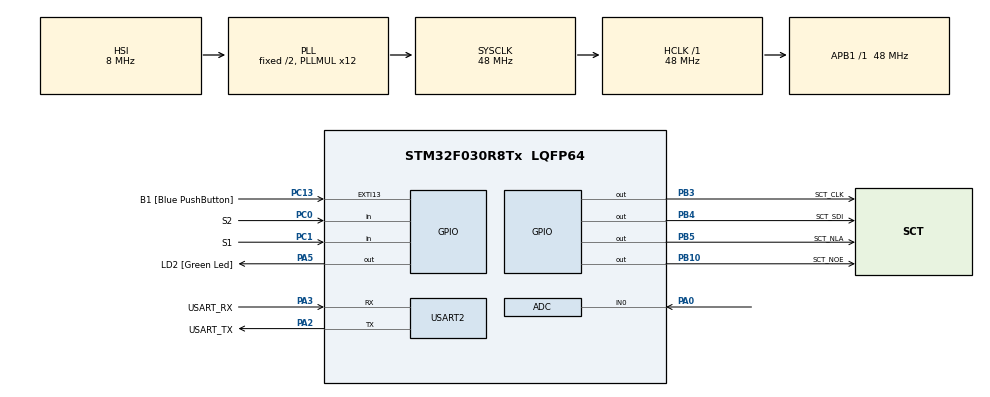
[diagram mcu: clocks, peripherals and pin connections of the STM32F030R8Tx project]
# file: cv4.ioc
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ADC.ContinuousConvMode=ENABLE
ADC.SamplingTime=ADC_SAMPLETIME_239CYCLES_5
Mcu.Family=STM32F0
Mcu.Name=STM32F030R8Tx
Mcu.Package=LQFP64
NVIC.ADC1_IRQn=true\:0\:0\:false\:false\:true\:true\:true\:true
PA0.Mode=IN0
PA0.Signal=ADC_IN0
PA13.GPIO_Label=TMS
PA13.Mode=Serial_Wire
PA13.Signal=SYS_SWDIO
PA14.GPIO_Label=TCK
PA14.Mode=Serial_Wire
PA14.Signal=SYS_SWCLK
PA2.GPIO_Label=USART_TX
PA2.GPIO_Mode=GPIO_MODE_AF_PP
PA2.GPIO_PuPd=GPIO_NOPULL
PA2.GPIO_Speed=GPIO_SPEED_FREQ_LOW
PA2.Mode=Asynchronous
PA2.Signal=USART2_TX
PA3.GPIO_Label=USART_RX
PA3.GPIO_Mode=GPIO_MODE_AF_PP
PA3.GPIO_PuPd=GPIO_NOPULL
PA3.GPIO_Speed=GPIO_SPEED_FREQ_LOW
PA3.Mode=Asynchronous
PA3.Signal=USART2_RX
PA5.GPIO_Label=LD2 [Green Led]
PA5.GPIO_Mode=GPIO_MODE_OUTPUT_PP
PA5.GPIO_PuPd=GPIO_NOPULL
PA5.GPIO_Speed=GPIO_SPEED_FREQ_LOW
PA5.Signal=GPIO_Output
PB10.GPIO_Label=SCT_NOE
PB10.Signal=GPIO_Output
PB3.GPIO_Label=SCT_CLK
PB3.Signal=GPIO_Output
PB4.GPIO_Label=SCT_SDI
PB4.Signal=GPIO_Output
PB5.GPIO_Label=SCT_NLA
PB5.Signal=GPIO_Output
PC0.GPIO_Label=S2
PC0.GPIO_PuPd=GPIO_PULLUP
PC0.Signal=GPIO_Input
PC1.GPIO_Label=S1
PC1.GPIO_PuPd=GPIO_PULLUP
PC1.Signal=GPIO_Input
PC13.GPIO_Label=B1 [Blue PushButton]
PC13.GPIO_ModeDefaultEXTI=GPIO_MODE_IT_FALLING
PC13.Signal=GPXTI13
PC14-OSC32_IN.Mode=LSE-External-Oscillator
PC14-OSC32_IN.Signal=RCC_OSC32_IN
PC15-OSC32_OUT.Mode=LSE-External-Oscillator
PC15-OSC32_OUT.Signal=RCC_OSC32_OUT
PF0-OSC_IN.Mode=HSE-External-Clock-Source
PF0-OSC_IN.Signal=RCC_OSC_IN
PF1-OSC_OUT.Signal=RCC_OSC_OUT
ProjectManager.HeapSize=0x200
ProjectManager.StackSize=0x400
ProjectManager.TargetToolchain=STM32CubeIDE
RCC.AHBFreq_Value=48000000
RCC.APB1Freq_Value=48000000
RCC.APB1TimFreq_Value=48000000
RCC.HCLKFreq_Value=48000000
RCC.PLLMUL=RCC_PLL_MUL12
RCC.SYSCLKFreq_VALUE=48000000
RCC.SYSCLKSource=RCC_SYSCLKSOURCE_PLLCLK
USART2.VirtualMode-Asynchronous=VM_ASYNC
VP_ADC_TempSens_Input.Mode=IN-TempSens
VP_ADC_Vref_Input.Mode=IN-Vrefint
board=NUCLEO-F030R8

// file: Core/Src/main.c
/* USER CODE BEGIN Header */
/**
  ******************************************************************************
  * @file           : main.c
  * @brief          : Main program body
  ******************************************************************************
  * @attention
  *
  * Copyright (c) 2025 STMicroelectronics.
  * All rights reserved.
  *
  * This software is licensed under terms that can be found in the LICENSE file
  * in the root directory of this software component.
  * If no LICENSE file comes with this software, it is provided AS-IS.
  *
  ******************************************************************************
  */
/* USER CODE END Header */
#include "main.h"

/* USER CODE BEGIN Includes */
#include "sct.h"
/* USER CODE END Includes */

ADC_HandleTypeDef hadc;

UART_HandleTypeDef huart2;

void SystemClock_Config(void);
static void MX_GPIO_Init(void);
static void MX_USART2_UART_Init(void);
static void MX_ADC_Init(void);

/* USER CODE BEGIN 0 */
#define ADC_Q 12
#define TEMP110_CAL_ADDR ((uint16_t*) ((uint32_t) 0x1FFFF7C2))
#define TEMP30_CAL_ADDR ((uint16_t*) ((uint32_t) 0x1FFFF7B8))
#define VREFINT_CAL_ADDR ((uint16_t*) ((uint32_t) 0x1FFFF7BA))
static volatile uint32_t raw_pot=0;
static volatile uint32_t raw_temp=0;
static volatile uint32_t raw_volt=0;

void HAL_ADC_ConvCpltCallback(ADC_HandleTypeDef* hadc)
{
	static uint32_t avg_pot = 0;

	/*raw_pot = avg_pot >> ADC_Q;
	avg_pot -= raw_pot;
	avg_pot += HAL_ADC_GetValue(hadc);*/

	if (hadc->Instance == ADC1)
	{
		static uint8_t channel = 0;

		uint32_t adc = HAL_ADC_GetValue(hadc);

		switch (channel)
		{
		case 0:

			avg_pot = avg_pot - (avg_pot >> ADC_Q) + adc;
			raw_pot = avg_pot >> ADC_Q;
			break;

		case 1:

			raw_temp = adc;
			break;

		case 2:

			raw_volt = adc;
			break;
		}

		if (__HAL_ADC_GET_FLAG(hadc, ADC_FLAG_EOS))
		{
			channel = 0;
		}
		else
		{
			channel++;
		}

	}
}
/* USER CODE END 0 */

int main(void)
{

  /* MCU Configuration--------------------------------------------------------*/

  /* Reset of all peripherals, Initializes the Flash interface and the Systick. */
  HAL_Init();

  /* Configure the system clock */
  SystemClock_Config();

  /* Initialize all configured peripherals */
  MX_GPIO_Init();
  MX_USART2_UART_Init();
  MX_ADC_Init();
  /* USER CODE BEGIN 2 */
  HAL_ADCEx_Calibration_Start(&hadc);
  HAL_ADC_Start_IT(&hadc);
  sct_init();

  /* USER CODE END 2 */

  /* Infinite loop */
  while (1)
  {

	  /* USER CODE BEGIN 3 */
	  static enum { SHOW_POT, SHOW_VOLT, SHOW_TEMP } state = SHOW_POT;
	  static uint32_t last_press = 0;

	  if (HAL_GPIO_ReadPin(GPIOC, GPIO_PIN_0) == GPIO_PIN_RESET) {  // S2 = PC0
		  state = SHOW_VOLT;
		  last_press = HAL_GetTick();
	  } else if (HAL_GPIO_ReadPin(GPIOC, GPIO_PIN_1) == GPIO_PIN_RESET) {  // S1 = PC1
		  state = SHOW_TEMP;
		  last_press = HAL_GetTick();
	  }

	  if ((state != SHOW_POT) && (HAL_GetTick() - last_press > 1000)) {
		  state = SHOW_POT;
	  }

	  uint32_t value = 0;
	  uint8_t led = 0;

	  switch (state) {
	  case SHOW_POT:
		  value = raw_pot * 500 / 4096;
		  led = raw_pot * 9 / 4096;
		  break;

	  case SHOW_VOLT:
		  if (raw_volt != 0) {
			  value = 330 * (*VREFINT_CAL_ADDR) / raw_volt;
			  led = 2;
		  }
		  break;

	  case SHOW_TEMP:
	  {
		  int32_t temperature = (raw_temp - (int32_t)(*TEMP30_CAL_ADDR));
		  temperature = temperature * (int32_t)(110 - 30);
		  temperature = temperature / (int32_t)(*TEMP110_CAL_ADDR - *TEMP30_CAL_ADDR);
		  temperature = temperature + 30;

		  value = temperature;
		  led = 1;
	  }
	  break;
	  }

	  sct_value(value, led);
	  HAL_Delay(50);
  }
}
  /* USER CODE END 3 */

void SystemClock_Config(void)
{
  RCC_OscInitTypeDef RCC_OscInitStruct = {0};
  RCC_ClkInitTypeDef RCC_ClkInitStruct = {0};

  /** Initializes the RCC Oscillators according to the specified parameters
  * in the RCC_OscInitTypeDef structure.
  */
  RCC_OscInitStruct.OscillatorType = RCC_OSCILLATORTYPE_HSI|RCC_OSCILLATORTYPE_HSI14;
  RCC_OscInitStruct.HSIState = RCC_HSI_ON;
  RCC_OscInitStruct.HSI14State = RCC_HSI14_ON;
  RCC_OscInitStruct.HSICalibrationValue = RCC_HSICALIBRATION_DEFAULT;
  RCC_OscInitStruct.HSI14CalibrationValue = 16;
  RCC_OscInitStruct.PLL.PLLState = RCC_PLL_ON;
  RCC_OscInitStruct.PLL.PLLSource = RCC_PLLSOURCE_HSI;
  RCC_OscInitStruct.PLL.PLLMUL = RCC_PLL_MUL12;
  RCC_OscInitStruct.PLL.PREDIV = RCC_PREDIV_DIV1;
  if (HAL_RCC_OscConfig(&RCC_OscInitStruct) != HAL_OK)
  {
    Error_Handler();
  }

  /** Initializes the CPU, AHB and APB buses clocks
  */
  RCC_ClkInitStruct.ClockType = RCC_CLOCKTYPE_HCLK|RCC_CLOCKTYPE_SYSCLK
                              |RCC_CLOCKTYPE_PCLK1;
  RCC_ClkInitStruct.SYSCLKSource = RCC_SYSCLKSOURCE_PLLCLK;
  RCC_ClkInitStruct.AHBCLKDivider = RCC_SYSCLK_DIV1;
  RCC_ClkInitStruct.APB1CLKDivider = RCC_HCLK_DIV1;

  if (HAL_RCC_ClockConfig(&RCC_ClkInitStruct, FLASH_LATENCY_1) != HAL_OK)
  {
    Error_Handler();
  }
}

static void MX_ADC_Init(void)
{

  ADC_ChannelConfTypeDef sConfig = {0};

  /** Configure the global features of the ADC (Clock, Resolution, Data Alignment and number of conversion)
  */
  hadc.Instance = ADC1;
  hadc.Init.ClockPrescaler = ADC_CLOCK_ASYNC_DIV1;
  hadc.Init.Resolution = ADC_RESOLUTION_12B;
  hadc.Init.DataAlign = ADC_DATAALIGN_RIGHT;
  hadc.Init.ScanConvMode = ADC_SCAN_DIRECTION_FORWARD;
  hadc.Init.EOCSelection = ADC_EOC_SINGLE_CONV;
  hadc.Init.LowPowerAutoWait = DISABLE;
  hadc.Init.LowPowerAutoPowerOff = DISABLE;
  hadc.Init.ContinuousConvMode = ENABLE;
  hadc.Init.DiscontinuousConvMode = DISABLE;
  hadc.Init.ExternalTrigConv = ADC_SOFTWARE_START;
  hadc.Init.ExternalTrigConvEdge = ADC_EXTERNALTRIGCONVEDGE_NONE;
  hadc.Init.DMAContinuousRequests = DISABLE;
  hadc.Init.Overrun = ADC_OVR_DATA_PRESERVED;
  if (HAL_ADC_Init(&hadc) != HAL_OK)
  {
    Error_Handler();
  }

  /** Configure for the selected ADC regular channel to be converted.
  */
  sConfig.Channel = ADC_CHANNEL_0;
  sConfig.Rank = ADC_RANK_CHANNEL_NUMBER;
  sConfig.SamplingTime = ADC_SAMPLETIME_239CYCLES_5;
  if (HAL_ADC_ConfigChannel(&hadc, &sConfig) != HAL_OK)
  {
    Error_Handler();
  }

  /** Configure for the selected ADC regular channel to be converted.
  */
  sConfig.Channel = ADC_CHANNEL_TEMPSENSOR;
  if (HAL_ADC_ConfigChannel(&hadc, &sConfig) != HAL_OK)
  {
    Error_Handler();
  }

  /** Configure for the selected ADC regular channel to be converted.
  */
  sConfig.Channel = ADC_CHANNEL_VREFINT;
  if (HAL_ADC_ConfigChannel(&hadc, &sConfig) != HAL_OK)
  {
    Error_Handler();
  }

}

static void MX_USART2_UART_Init(void)
{

  huart2.Instance = USART2;
  huart2.Init.BaudRate = 38400;
  huart2.Init.WordLength = UART_WORDLENGTH_8B;
  huart2.Init.StopBits = UART_STOPBITS_1;
  huart2.Init.Parity = UART_PARITY_NONE;
  huart2.Init.Mode = UART_MODE_TX_RX;
  huart2.Init.HwFlowCtl = UART_HWCONTROL_NONE;
  huart2.Init.OverSampling = UART_OVERSAMPLING_16;
  huart2.Init.OneBitSampling = UART_ONE_BIT_SAMPLE_DISABLE;
  huart2.AdvancedInit.AdvFeatureInit = UART_ADVFEATURE_NO_INIT;
  if (HAL_UART_Init(&huart2) != HAL_OK)
  {
    Error_Handler();
  }

}

static void MX_GPIO_Init(void)
{
  GPIO_InitTypeDef GPIO_InitStruct = {0};

  /* GPIO Ports Clock Enable */
  __HAL_RCC_GPIOC_CLK_ENABLE();
  __HAL_RCC_GPIOF_CLK_ENABLE();
  __HAL_RCC_GPIOA_CLK_ENABLE();
  __HAL_RCC_GPIOB_CLK_ENABLE();

  /*Configure GPIO pin Output Level */
  HAL_GPIO_WritePin(LD2_GPIO_Port, LD2_Pin, GPIO_PIN_RESET);

  /*Configure GPIO pin Output Level */
  HAL_GPIO_WritePin(GPIOB, SCT_NOE_Pin|SCT_CLK_Pin|SCT_SDI_Pin|SCT_NLA_Pin, GPIO_PIN_RESET);

  /*Configure GPIO pin : B1_Pin */
  GPIO_InitStruct.Pin = B1_Pin;
  GPIO_InitStruct.Mode = GPIO_MODE_IT_FALLING;
  GPIO_InitStruct.Pull = GPIO_NOPULL;
  HAL_GPIO_Init(B1_GPIO_Port, &GPIO_InitStruct);

  /*Configure GPIO pins : S2_Pin S1_Pin */
  GPIO_InitStruct.Pin = S2_Pin|S1_Pin;
  GPIO_InitStruct.Mode = GPIO_MODE_INPUT;
  GPIO_InitStruct.Pull = GPIO_PULLUP;
  HAL_GPIO_Init(GPIOC, &GPIO_InitStruct);

  /*Configure GPIO pin : LD2_Pin */
  GPIO_InitStruct.Pin = LD2_Pin;
  GPIO_InitStruct.Mode = GPIO_MODE_OUTPUT_PP;
  GPIO_InitStruct.Pull = GPIO_NOPULL;
  GPIO_InitStruct.Speed = GPIO_SPEED_FREQ_LOW;
  HAL_GPIO_Init(LD2_GPIO_Port, &GPIO_InitStruct);

  /*Configure GPIO pins : SCT_NOE_Pin SCT_CLK_Pin SCT_SDI_Pin SCT_NLA_Pin */
  GPIO_InitStruct.Pin = SCT_NOE_Pin|SCT_CLK_Pin|SCT_SDI_Pin|SCT_NLA_Pin;
  GPIO_InitStruct.Mode = GPIO_MODE_OUTPUT_PP;
  GPIO_InitStruct.Pull = GPIO_NOPULL;
  GPIO_InitStruct.Speed = GPIO_SPEED_FREQ_LOW;
  HAL_GPIO_Init(GPIOB, &GPIO_InitStruct);

}

void Error_Handler(void)
{
  __disable_irq();
  while (1)
  {
  }
}
